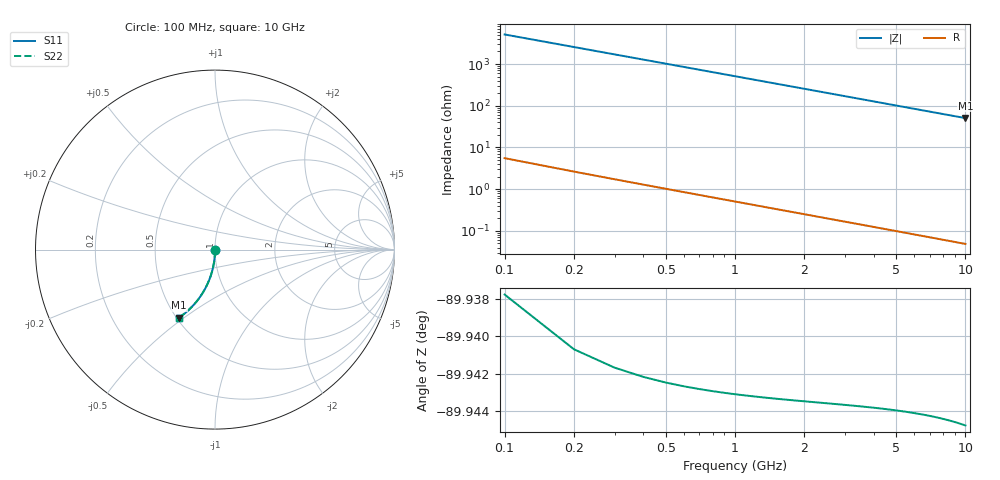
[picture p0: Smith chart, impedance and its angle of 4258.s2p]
# Hz S RI R 50.00
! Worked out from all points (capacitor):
!   100 points, 100 MHz to 10 GHz, reference 50 ohm
!   read as one part in shunt: C = 312 fF near 100 MHz
!   lowest |Z| = 50.6 ohm at 10 GHz (marker M1)
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1e8  1.75e-05 -0.0047  0.9999 -0.0051  0.9999 -0.0051  1.75e-05 -0.0047
2e8  -5.89e-05 -0.00939  0.9998 -0.0102  0.9998 -0.0102  -5.89e-05 -0.00939
3e8  -0.000183 -0.0141  0.9997 -0.0153  0.9997 -0.0153  -0.000183 -0.0141
4e8  -0.000356 -0.0188  0.9995 -0.0204  0.9995 -0.0204  -0.000356 -0.0188
5e8  -0.000576 -0.0235  0.9993 -0.0255  0.9993 -0.0255  -0.000576 -0.0235
6e8  -0.000844 -0.0282  0.9991 -0.0306  0.9991 -0.0306  -0.000844 -0.0282
7e8  -0.00116 -0.0328  0.9987 -0.0357  0.9987 -0.0357  -0.00116 -0.0328
8e8  -0.00152 -0.0375  0.9984 -0.0408  0.9984 -0.0408  -0.00152 -0.0375
9e8  -0.00194 -0.0422  0.998 -0.0459  0.998 -0.0459  -0.00194 -0.0422
1.1e9  -0.0029 -0.0515  0.997 -0.056  0.997 -0.056  -0.0029 -0.0515
1.4e9  -0.00471 -0.0655  0.9952 -0.0712  0.9952 -0.0712  -0.00471 -0.0655
1.8e9  -0.00778 -0.084  0.9921 -0.0914  0.9921 -0.0914  -0.00778 -0.084
2.1e9  -0.0106 -0.0978  0.9893 -0.1064  0.9893 -0.1064  -0.0106 -0.0978
2.5e9  -0.0149 -0.116  0.9849 -0.1262  0.9849 -0.1262  -0.0149 -0.116
2.9e9  -0.02 -0.1339  0.9798 -0.1458  0.9798 -0.1458  -0.02 -0.1339
3.4e9  -0.0273 -0.1559  0.9725 -0.1699  0.9725 -0.1699  -0.0273 -0.1559
4.2e9  -0.0413 -0.19  0.9585 -0.2073  0.9585 -0.2073  -0.0413 -0.19
5.1e9  -0.0599 -0.2265  0.9398 -0.2476  0.9398 -0.2476  -0.0599 -0.2265
5.9e9  -0.0787 -0.2569  0.9209 -0.2814  0.9209 -0.2814  -0.0787 -0.2569
6.7e9  -0.0995 -0.2853  0.9 -0.3131  0.9 -0.3131  -0.0995 -0.2853
8.4e9  -0.1488 -0.3382  0.8505 -0.3733  0.8505 -0.3733  -0.1488 -0.3382
1e10  -0.1994 -0.3784  0.7996 -0.4205  0.7996 -0.4205  -0.1994 -0.3784
